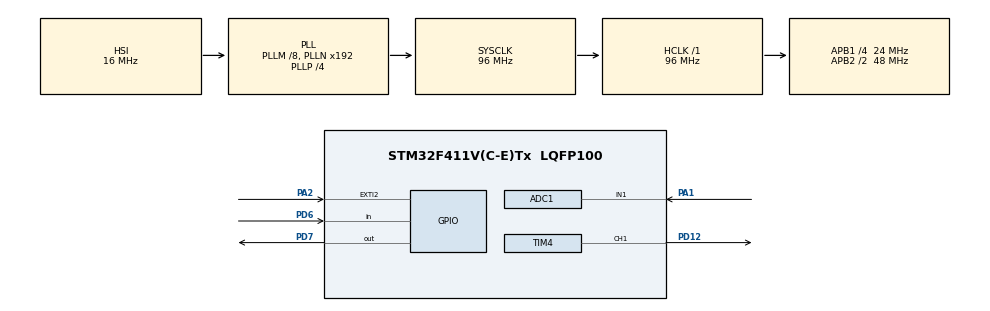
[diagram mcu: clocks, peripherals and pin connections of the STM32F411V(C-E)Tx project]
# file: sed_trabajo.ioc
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ADC1.Channel-0\#ChannelRegularConversion=ADC_CHANNEL_1
ADC1.ContinuousConvMode=ENABLE
ADC1.DMAContinuousRequests=ENABLE
ADC1.NbrOfConversionFlag=1
ADC1.Rank-0\#ChannelRegularConversion=1
ADC1.Resolution=ADC_RESOLUTION_10B
ADC1.SamplingTime-0\#ChannelRegularConversion=ADC_SAMPLETIME_112CYCLES
ADC1.ScanConvMode=ENABLE
ADC1.master=1
Dma.ADC1.0.Direction=DMA_PERIPH_TO_MEMORY
Dma.ADC1.0.FIFOMode=DMA_FIFOMODE_DISABLE
Dma.ADC1.0.Instance=DMA2_Stream0
Dma.ADC1.0.MemDataAlignment=DMA_MDATAALIGN_WORD
Dma.ADC1.0.MemInc=DMA_MINC_ENABLE
Dma.ADC1.0.Mode=DMA_CIRCULAR
Dma.ADC1.0.PeriphDataAlignment=DMA_PDATAALIGN_WORD
Dma.ADC1.0.PeriphInc=DMA_PINC_DISABLE
Dma.ADC1.0.Priority=DMA_PRIORITY_LOW
Dma.Request0=ADC1
Mcu.Family=STM32F4
Mcu.Name=STM32F411V(C-E)Tx
Mcu.Package=LQFP100
NVIC.DMA2_Stream0_IRQn=true\:0\:0\:false\:false\:true\:false\:true
NVIC.EXTI2_IRQn=true\:0\:0\:false\:false\:true\:true\:true
NVIC.PriorityGroup=NVIC_PRIORITYGROUP_0
NVIC.TimeBase=TIM1_UP_TIM10_IRQn
NVIC.TimeBaseIP=TIM1
PA1.Signal=ADCx_IN1
PA2.Signal=GPXTI2
PD12.Signal=S_TIM4_CH1
PD6.Signal=GPIO_Input
PD7.Signal=GPIO_Output
PH0\ -\ OSC_IN.Mode=HSE-External-Oscillator
PH0\ -\ OSC_IN.Signal=RCC_OSC_IN
PH1\ -\ OSC_OUT.Mode=HSE-External-Oscillator
PH1\ -\ OSC_OUT.Signal=RCC_OSC_OUT
ProjectManager.HeapSize=0x200
ProjectManager.StackSize=0x400
ProjectManager.TargetToolchain=STM32CubeIDE
RCC.48MHZClocksFreq_Value=48000000
RCC.AHBFreq_Value=96000000
RCC.APB1CLKDivider=RCC_HCLK_DIV4
RCC.APB1Freq_Value=24000000
RCC.APB1TimFreq_Value=48000000
RCC.APB2CLKDivider=RCC_HCLK_DIV2
RCC.APB2Freq_Value=48000000
RCC.APB2TimFreq_Value=96000000
RCC.CortexFreq_Value=96000000
RCC.HCLKFreq_Value=96000000
RCC.HSE_VALUE=8000000
RCC.HSI_VALUE=16000000
RCC.LSE_VALUE=32768
RCC.PLLI2SM=5
RCC.PLLI2SN=200
RCC.PLLM=8
RCC.PLLP=RCC_PLLP_DIV4
RCC.PLLQ=8
RCC.SYSCLKFreq_VALUE=96000000
RCC.SYSCLKSource=RCC_SYSCLKSOURCE_PLLCLK
RCC.VCOOutputFreq_Value=384000000
SH.ADCx_IN1.0=ADC1_IN1,IN1
SH.S_TIM4_CH1.0=TIM4_CH1,PWM Generation1 CH1
TIM4.Channel-PWM\ Generation1\ CH1=TIM_CHANNEL_1
VP_SYS_VS_tim1.Mode=TIM1
VP_TIM4_VS_ClockSourceINT.Mode=Internal
board=STM32F411E-DISCO

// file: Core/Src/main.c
/* USER CODE BEGIN Header */
/**
  ******************************************************************************
  * @file           : main.c
  * @brief          : Main program body
  ******************************************************************************
  * @attention
  *
  * <h2><center>&copy; Copyright (c) 2021 STMicroelectronics.
  * All rights reserved.</center></h2>
  *
  * This software component is licensed by ST under BSD 3-Clause license,
  * the "License"; You may not use this file except in compliance with the
  * License. You may obtain a copy of the License at:
  *                        opensource.org/licenses/BSD-3-Clause
  *
  ******************************************************************************
  */
/* USER CODE END Header */
#include "main.h"

ADC_HandleTypeDef hadc1;
DMA_HandleTypeDef hdma_adc1;

TIM_HandleTypeDef htim4;

void SystemClock_Config(void);
static void MX_GPIO_Init(void);
static void MX_DMA_Init(void);
static void MX_ADC1_Init(void);
static void MX_TIM4_Init(void);

/* USER CODE BEGIN 0 */

uint32_t adcvalue[1], adcbuffer[1];
int ledv,tickstart;
int bandera;
int tmax=10000;
volatile int button_int=0;
int contador = 0;

void HAL_ADC_ConvCpltCallback( ADC_HandleTypeDef *hadc)
{
	if (hadc->Instance == ADC1)
	{
	adcvalue[0]=adcbuffer[0]*2/1000;
	}
}

void HAL_GPIO_EXTI_Callback(uint16_t GPIO_Pin)
{
	if(GPIO_Pin==GPIO_PIN_2)
	{
		button_int = 1;
		bandera = 1;
	}
}

/* USER CODE END 0 */

int main(void)
{

  /* MCU Configuration--------------------------------------------------------*/

  /* Reset of all peripherals, Initializes the Flash interface and the Systick. */
  HAL_Init();

  /* Configure the system clock */
  SystemClock_Config();

  /* Initialize all configured peripherals */
  MX_GPIO_Init();
  MX_DMA_Init();
  MX_ADC1_Init();
  MX_TIM4_Init();
  /* USER CODE BEGIN 2 */

  HAL_ADC_Start_DMA(&hadc1, adcbuffer, 2);
  HAL_TIM_PWM_Start(&htim4, TIM_CHANNEL_1);

	tickstart = HAL_GetTick();
	int counter=HAL_GetTick();
	uint8_t button_count=0;

  /* USER CODE END 2 */

  /* Infinite loop */
  while (1)
  {

    /* USER CODE BEGIN 3 */

// Led regulable

	  ledv=adcvalue[0];
	  __HAL_TIM_SET_COMPARE(&htim4, TIM_CHANNEL_1, ledv);

// Contador de botón

	  if(button_int==1)
	  		{
	  			if(HAL_GetTick()-counter>=20){
	  				counter=HAL_GetTick();
	  				if(HAL_GPIO_ReadPin(GPIOA, GPIO_PIN_2)!=1){
	  					button_count=0;
	  				}
	  				else{
	  					button_count++;
	  				}
	  				if(button_count==3){
	  					button_count=0;
	  					contador++;
	  					button_int=0;
	  				}
	  				}
	  		}

// Interrupcion botón

	  if (bandera==1)
	  {

		 /* HAL_GPIO_WritePin(GPIOD,GPIO_PIN_7,0);
		  ledv=0;*/

		  if(contador%2 == 0)
		  {
			  bandera = 0;
			  contador = 0;
		  }

	  }

// Sensor PIR

	  if (HAL_GPIO_ReadPin(GPIOD, GPIO_PIN_6))
	  {
		  HAL_GPIO_WritePin(GPIOD, GPIO_PIN_7, 1);
	  }
	  else
	  {
		  //HAL_GPIO_WritePin(GPIOD, GPIO_PIN_7, 0);
	  }

	  HAL_GPIO_WritePin(GPIOD, GPIO_PIN_7, 1);

  }
  /* USER CODE END 3 */
}

void SystemClock_Config(void)
{
  RCC_OscInitTypeDef RCC_OscInitStruct = {0};
  RCC_ClkInitTypeDef RCC_ClkInitStruct = {0};

  /** Configure the main internal regulator output voltage
  */
  __HAL_RCC_PWR_CLK_ENABLE();
  __HAL_PWR_VOLTAGESCALING_CONFIG(PWR_REGULATOR_VOLTAGE_SCALE1);
  /** Initializes the RCC Oscillators according to the specified parameters
  * in the RCC_OscInitTypeDef structure.
  */
  RCC_OscInitStruct.OscillatorType = RCC_OSCILLATORTYPE_HSI;
  RCC_OscInitStruct.HSIState = RCC_HSI_ON;
  RCC_OscInitStruct.HSICalibrationValue = RCC_HSICALIBRATION_DEFAULT;
  RCC_OscInitStruct.PLL.PLLState = RCC_PLL_ON;
  RCC_OscInitStruct.PLL.PLLSource = RCC_PLLSOURCE_HSI;
  RCC_OscInitStruct.PLL.PLLM = 8;
  RCC_OscInitStruct.PLL.PLLN = 192;
  RCC_OscInitStruct.PLL.PLLP = RCC_PLLP_DIV4;
  RCC_OscInitStruct.PLL.PLLQ = 8;
  if (HAL_RCC_OscConfig(&RCC_OscInitStruct) != HAL_OK)
  {
    Error_Handler();
  }
  /** Initializes the CPU, AHB and APB buses clocks
  */
  RCC_ClkInitStruct.ClockType = RCC_CLOCKTYPE_HCLK|RCC_CLOCKTYPE_SYSCLK
                              |RCC_CLOCKTYPE_PCLK1|RCC_CLOCKTYPE_PCLK2;
  RCC_ClkInitStruct.SYSCLKSource = RCC_SYSCLKSOURCE_PLLCLK;
  RCC_ClkInitStruct.AHBCLKDivider = RCC_SYSCLK_DIV1;
  RCC_ClkInitStruct.APB1CLKDivider = RCC_HCLK_DIV4;
  RCC_ClkInitStruct.APB2CLKDivider = RCC_HCLK_DIV2;

  if (HAL_RCC_ClockConfig(&RCC_ClkInitStruct, FLASH_LATENCY_3) != HAL_OK)
  {
    Error_Handler();
  }
}

static void MX_ADC1_Init(void)
{

  ADC_ChannelConfTypeDef sConfig = {0};

  /** Configure the global features of the ADC (Clock, Resolution, Data Alignment and number of conversion)
  */
  hadc1.Instance = ADC1;
  hadc1.Init.ClockPrescaler = ADC_CLOCK_SYNC_PCLK_DIV2;
  hadc1.Init.Resolution = ADC_RESOLUTION_10B;
  hadc1.Init.ScanConvMode = ENABLE;
  hadc1.Init.ContinuousConvMode = ENABLE;
  hadc1.Init.DiscontinuousConvMode = DISABLE;
  hadc1.Init.ExternalTrigConvEdge = ADC_EXTERNALTRIGCONVEDGE_NONE;
  hadc1.Init.ExternalTrigConv = ADC_SOFTWARE_START;
  hadc1.Init.DataAlign = ADC_DATAALIGN_RIGHT;
  hadc1.Init.NbrOfConversion = 1;
  hadc1.Init.DMAContinuousRequests = ENABLE;
  hadc1.Init.EOCSelection = ADC_EOC_SINGLE_CONV;
  if (HAL_ADC_Init(&hadc1) != HAL_OK)
  {
    Error_Handler();
  }
  /** Configure for the selected ADC regular channel its corresponding rank in the sequencer and its sample time.
  */
  sConfig.Channel = ADC_CHANNEL_1;
  sConfig.Rank = 1;
  sConfig.SamplingTime = ADC_SAMPLETIME_112CYCLES;
  if (HAL_ADC_ConfigChannel(&hadc1, &sConfig) != HAL_OK)
  {
    Error_Handler();
  }

}

static void MX_TIM4_Init(void)
{

  TIM_ClockConfigTypeDef sClockSourceConfig = {0};
  TIM_MasterConfigTypeDef sMasterConfig = {0};
  TIM_OC_InitTypeDef sConfigOC = {0};

  htim4.Instance = TIM4;
  htim4.Init.Prescaler = 0;
  htim4.Init.CounterMode = TIM_COUNTERMODE_UP;
  htim4.Init.Period = 65535;
  htim4.Init.ClockDivision = TIM_CLOCKDIVISION_DIV1;
  htim4.Init.AutoReloadPreload = TIM_AUTORELOAD_PRELOAD_DISABLE;
  if (HAL_TIM_Base_Init(&htim4) != HAL_OK)
  {
    Error_Handler();
  }
  sClockSourceConfig.ClockSource = TIM_CLOCKSOURCE_INTERNAL;
  if (HAL_TIM_ConfigClockSource(&htim4, &sClockSourceConfig) != HAL_OK)
  {
    Error_Handler();
  }
  if (HAL_TIM_PWM_Init(&htim4) != HAL_OK)
  {
    Error_Handler();
  }
  sMasterConfig.MasterOutputTrigger = TIM_TRGO_RESET;
  sMasterConfig.MasterSlaveMode = TIM_MASTERSLAVEMODE_DISABLE;
  if (HAL_TIMEx_MasterConfigSynchronization(&htim4, &sMasterConfig) != HAL_OK)
  {
    Error_Handler();
  }
  sConfigOC.OCMode = TIM_OCMODE_PWM1;
  sConfigOC.Pulse = 0;
  sConfigOC.OCPolarity = TIM_OCPOLARITY_HIGH;
  sConfigOC.OCFastMode = TIM_OCFAST_DISABLE;
  if (HAL_TIM_PWM_ConfigChannel(&htim4, &sConfigOC, TIM_CHANNEL_1) != HAL_OK)
  {
    Error_Handler();
  }
  HAL_TIM_MspPostInit(&htim4);

}

static void MX_DMA_Init(void)
{

  /* DMA controller clock enable */
  __HAL_RCC_DMA2_CLK_ENABLE();

  /* DMA interrupt init */
  /* DMA2_Stream0_IRQn interrupt configuration */
  HAL_NVIC_SetPriority(DMA2_Stream0_IRQn, 0, 0);
  HAL_NVIC_EnableIRQ(DMA2_Stream0_IRQn);

}

static void MX_GPIO_Init(void)
{
  GPIO_InitTypeDef GPIO_InitStruct = {0};

  /* GPIO Ports Clock Enable */
  __HAL_RCC_GPIOH_CLK_ENABLE();
  __HAL_RCC_GPIOA_CLK_ENABLE();
  __HAL_RCC_GPIOD_CLK_ENABLE();

  /*Configure GPIO pin Output Level */
  HAL_GPIO_WritePin(GPIOD, GPIO_PIN_7, GPIO_PIN_RESET);

  /*Configure GPIO pin : PA2 */
  GPIO_InitStruct.Pin = GPIO_PIN_2;
  GPIO_InitStruct.Mode = GPIO_MODE_IT_RISING;
  GPIO_InitStruct.Pull = GPIO_NOPULL;
  HAL_GPIO_Init(GPIOA, &GPIO_InitStruct);

  /*Configure GPIO pin : PD6 */
  GPIO_InitStruct.Pin = GPIO_PIN_6;
  GPIO_InitStruct.Mode = GPIO_MODE_INPUT;
  GPIO_InitStruct.Pull = GPIO_NOPULL;
  HAL_GPIO_Init(GPIOD, &GPIO_InitStruct);

  /*Configure GPIO pin : PD7 */
  GPIO_InitStruct.Pin = GPIO_PIN_7;
  GPIO_InitStruct.Mode = GPIO_MODE_OUTPUT_PP;
  GPIO_InitStruct.Pull = GPIO_NOPULL;
  GPIO_InitStruct.Speed = GPIO_SPEED_FREQ_LOW;
  HAL_GPIO_Init(GPIOD, &GPIO_InitStruct);

  /* EXTI interrupt init*/
  HAL_NVIC_SetPriority(EXTI2_IRQn, 0, 0);
  HAL_NVIC_EnableIRQ(EXTI2_IRQn);

}

void HAL_TIM_PeriodElapsedCallback(TIM_HandleTypeDef *htim)
{
  if (htim->Instance == TIM1) {
    HAL_IncTick();
  }
}

void Error_Handler(void)
{
  __disable_irq();
  while (1)
  {
  }
}

/************************ (C) COPYRIGHT STMicroelectronics *****END OF FILE****/
